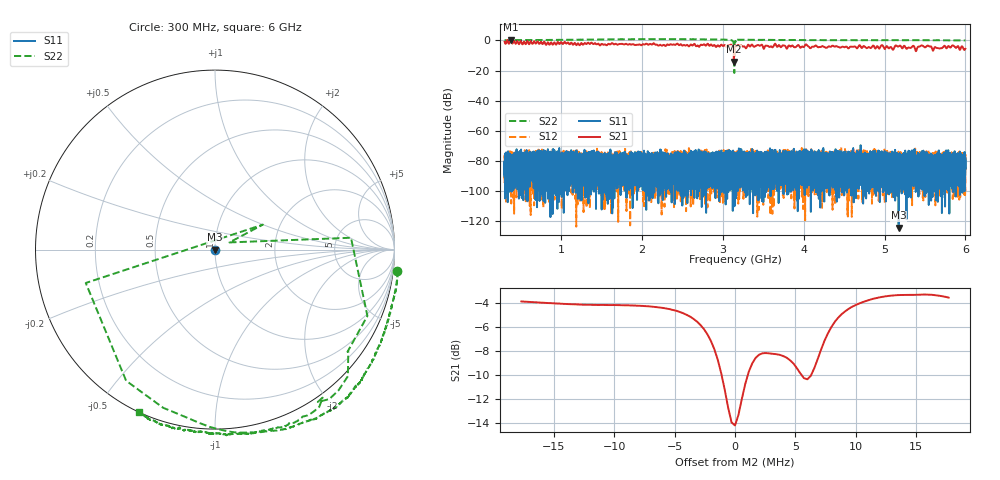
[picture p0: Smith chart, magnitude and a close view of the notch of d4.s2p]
!Agilent Technologies,N5230C,SG49000117,A.08.50.07
!Agilent N5230C: A.08.50.07
!Date: Monday, March 18, 2024 18:00:50
!Correction: S11(Off)
!S21(Off)
!S12(Off)
!S22(Full 1 Port(2))
!S2P File: Measurements: S11, S21, S12, S22:
# Hz S  RI  R 50
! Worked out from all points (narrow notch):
!   20001 points, 300 MHz to 6 GHz, reference 50 ohm
!   highest |S21| = 0.46 dB at 374.4 MHz (marker M1); lowest = -14.2 dB at 3.136 GHz (marker M2)
!   notch at M2: 10.8 dB deep, 2.99 MHz wide at half that depth
!   lowest |S11| = -124.3 dB at 5.175 GHz (marker M3), VSWR 1.00, Z = 50 - j3.5e-05 ohm
!   |S11| at or under -10 dB: start of sweep to end of sweep
!   |S22| runs from -21.6 to 0.9 dB; largest |S21 - S12| = 1.1
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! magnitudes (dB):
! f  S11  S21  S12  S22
! 300 MHz  -80.7  -0.9  -83.0  0.2
! 374.4 MHz  -82.3  0.5  -82.6  0.2
! 1.25 GHz  -92.7  -1.7  -82.4  0.5
! 2.2 GHz  -83.8  -3.5  -83.4  0.9
! 3.057 GHz  -82.7  -3.5  -81.4  0.4
! 3.104 GHz  -83.5  -2.8  -79.2  0.2
! 3.116 GHz  -84.7  -3.7  -89.7  -0.1
! 3.136 GHz  -84.6  -14.2  -85.0  -4.4
! 3.15 GHz  -74.7  -3.3  -88.4  -0.6
! 3.174 GHz  -76.3  -3.9  -90.4  0.0
! 3.204 GHz  -92.9  -3.7  -79.0  0.5
! 3.27 GHz  -75.8  -4.2  -75.9  0.4
! 3.977 GHz  -90.4  -4.1  -103.7  0.2
! 4.035 GHz  -80.9  -2.9  -80.8  0.2
! 4.1 GHz  -88.5  -4.3  -86.0  0.2
! 5.05 GHz  -81.3  -5.2  -80.4  0.2
! 5.175 GHz  -124.3  -3.9  -86.9  0.1
! 5.396 GHz  -96.4  -6.4  -78.1  0.2
! 5.452 GHz  -86.1  -3.4  -88.4  0.2
! 5.613 GHz  -87.8  -5.2  -77.5  0.1
! 5.847 GHz  -80.4  -3.3  -80.0  0.0
! 6 GHz  -79.9  -5.5  -86.1  0.0
